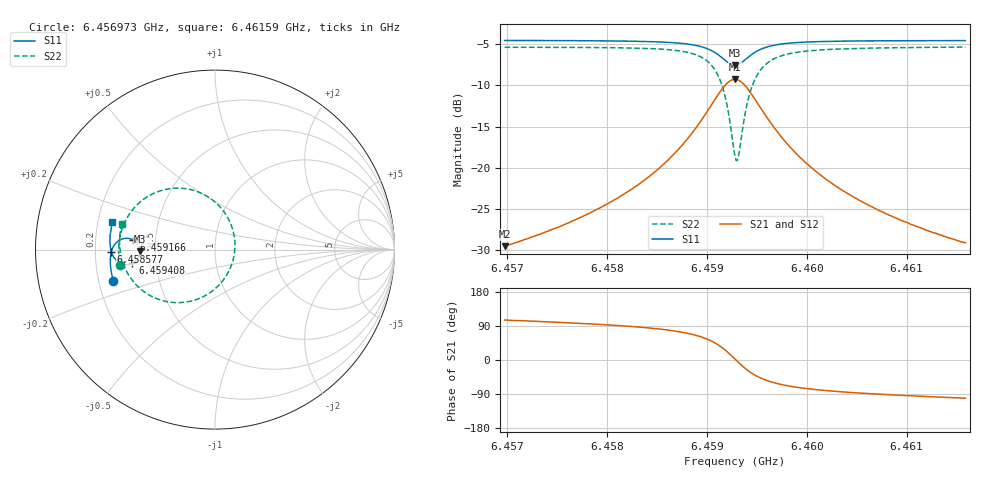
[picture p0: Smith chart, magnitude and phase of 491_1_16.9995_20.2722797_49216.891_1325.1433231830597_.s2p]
#  HZ  S  RI  R  50.00
! Rohde & Schwarz Vector Network Analyzer
! Rohde-Schwarz,ZNB20-2Port,1311601062101988,3.16
! Created: UTC 3/20/2024, 11:14:05 PM
! freq[Hz]  re:S11  im:S11  re:S21  im:S21  re:S12  im:S12  re:S22  im:S22
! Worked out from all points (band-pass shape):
!   401 points, 6.456973 GHz to 6.46159 GHz, reference 50 ohm
!   highest |S21| = -9.26 dB at 6.459281 GHz (marker M1); lowest = -29.5 dB at 6.456973 GHz (marker M2)
!   |S21| within 3 dB of the highest: 6.459051 GHz to 6.459512 GHz (461.7 kHz wide, 0.00715 % of centre)
!   lowest |S11| = -7.6 dB at 6.459281 GHz (marker M3), VSWR 2.44, Z = 20.5 - j0.487 ohm
!   |S11| at or under -10 dB: nowhere
!   |S22| runs from -19.1 to -5.4 dB; largest |S21 - S12| = 0.014
!   S11 on the Smith chart (normalised r, x): 6.456973 GHz: 0.26, -0.14; 6.458577 GHz: 0.27, -0.01; 6.459166 GHz: 0.37, +0.05; 6.459408 GHz: 0.37, -0.07; 6.46159 GHz: 0.26, +0.12
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6.456973e9  -0.5665 -0.1726  -0.00896 0.0323  -0.00719 0.0323  -0.5315 -0.0852
6.4577462e9  -0.5807 -0.105  -0.00574 0.0501  -0.00321 0.0496  -0.5373 0.00489
6.4581271e9  -0.5836 -0.0672  -0.000743 0.0668  0.00244 0.0656  -0.5307 0.0639
6.4585195e9  -0.5798 -0.0209  0.0141 0.0982  0.018 0.0956  -0.5039 0.1499
6.4585772e9  -0.578 -0.0131  0.0184 0.1051  0.0225 0.1021  -0.4958 0.1665
6.458785e9  -0.5651 0.0191  0.0458 0.1375  0.05 0.1326  -0.4445 0.2392
6.458935e9  -0.5426 0.0453  0.0908 0.1678  0.094 0.1613  -0.3615 0.3036
6.4590735e9  -0.499 0.063  0.1776 0.1845  0.1785 0.1771  -0.2028 0.3424
6.4591659e9  -0.4546 0.0528  0.2671 0.1536  0.2674 0.1477  -0.0369 0.2926
6.459212e9  -0.4335 0.034  0.3106 0.1109  0.3119 0.1056  0.0459 0.2168
6.4592813e9  -0.4187 -0.00981  0.344 0.0145  0.3477 0.00752  0.111 0.0376
6.4592928e9  -0.4192 -0.0178  0.3438 -0.00333  0.3477 -0.011  0.1106 0.00416
6.4593159e9  -0.4225 -0.0333  0.3383 -0.038  0.3422 -0.0469  0.0998 -0.0615
6.4593621e9  -0.4381 -0.0594  0.3099 -0.0976  0.3123 -0.1095  0.0424 -0.1745
6.4594082e9  -0.46 -0.0756  0.2681 -0.1387  0.2674 -0.1518  -0.042 -0.2495
6.4595006e9  -0.5033 -0.0824  0.1836 -0.1697  0.1775 -0.1813  -0.2105 -0.2956
6.4596506e9  -0.547 -0.0619  0.0959 -0.1561  0.0875 -0.1624  -0.3779 -0.2465
6.4598237e9  -0.5693 -0.0324  0.0491 -0.1264  0.0417 -0.1292  -0.4617 -0.1699
6.4600546e9  -0.5811 0.0014  0.0222 -0.097  0.0165 -0.0974  -0.5059 -0.0923
6.4604123e9  -0.5855 0.0436  0.00588 -0.0694  0.0019 -0.069  -0.5276 -0.0111
6.4608278e9  -0.5835 0.0852  -0.00142 -0.0515  -0.00423 -0.0508  -0.5316 0.0549
6.4615896e9  -0.5712 0.1526  -0.00654 -0.0345  -0.00826 -0.0336  -0.5201 0.1448
